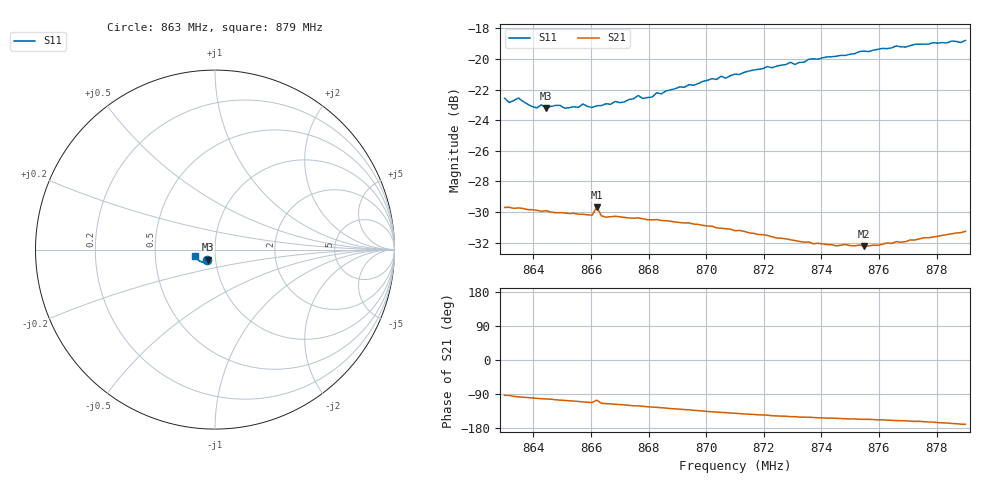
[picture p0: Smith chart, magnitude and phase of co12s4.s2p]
# HZ S RI R 50
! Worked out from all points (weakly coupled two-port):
!   101 points, 863 MHz to 879 MHz, reference 50 ohm
!   highest |S21| = -29.67 dB at 866.2 MHz (marker M1); lowest = -32.2 dB at 875.48 MHz (marker M2)
!   lowest |S11| = -23.2 dB at 864.44 MHz (marker M3), VSWR 1.15, Z = 45.8 - j5.14 ohm
!   |S11| at or under -10 dB: start of sweep to end of sweep
!   S12 and S22 are empty: the file has one direction only
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8.63e8  -0.0469 -0.0578  -0.00193 -0.0327  0 0  0 0
8.6316e8  -0.0432 -0.0576  -0.00196 -0.0327  0 0  0 0
8.6348e8  -0.047 -0.0579  -0.00407 -0.0324  0 0  0 0
8.6396e8  -0.0417 -0.0561  -0.00556 -0.0317  0 0  0 0
8.6428e8  -0.0407 -0.0579  -0.00669 -0.0311  0 0  0 0
8.6444e8  -0.0406 -0.0558  -0.00718 -0.0311  0 0  0 0
8.6492e8  -0.0409 -0.0575  -0.0086 -0.0303  0 0  0 0
8.6556e8  -0.0386 -0.0577  -0.0104 -0.0293  0 0  0 0
8.6572e8  -0.0383 -0.06  -0.0109 -0.0291  0 0  0 0
8.6604e8  -0.0371 -0.0587  -0.0117 -0.0286  0 0  0 0
8.662e8  -0.0276 -0.0646  -0.009 -0.0316  0 0  0 0
8.6636e8  -0.0374 -0.0596  -0.0126 -0.0281  0 0  0 0
8.6652e8  -0.0367 -0.0612  -0.0129 -0.0276  0 0  0 0
8.6716e8  -0.0365 -0.0625  -0.0144 -0.0267  0 0  0 0
8.6764e8  -0.0387 -0.0652  -0.0157 -0.0259  0 0  0 0
8.678e8  -0.038 -0.0638  -0.016 -0.0254  0 0  0 0
8.6844e8  -0.0384 -0.0666  -0.0174 -0.024  0 0  0 0
8.71e8  -0.0514 -0.0729  -0.0213 -0.0174  0 0  0 0
8.7372e8  -0.0704 -0.071  -0.0219 -0.0118  0 0  0 0
8.7548e8  -0.0837 -0.0651  -0.0225 -0.00972  0 0  0 0
8.7644e8  -0.0915 -0.0585  -0.0234 -0.00887  0 0  0 0
8.79e8  -0.1087 -0.0372  -0.0269 -0.00484  0 0  0 0
